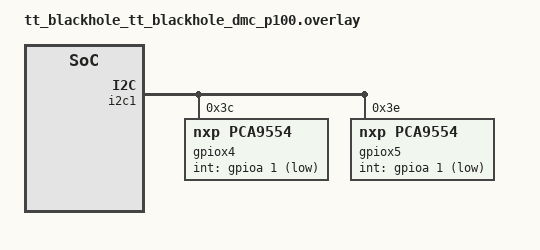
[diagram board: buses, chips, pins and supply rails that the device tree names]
/*
 * Copyright (c) 2024 Tenstorrent AI ULC
 *
 * SPDX-License-Identifier: Apache-2.0
 */

&jtag0 {
	tck-gpios = <&gpiob 8 GPIO_ACTIVE_HIGH>;
	tdi-gpios = <&gpiod 3 GPIO_ACTIVE_HIGH>;
	tdo-gpios = <&gpiod 2 GPIO_ACTIVE_HIGH>;
	tms-gpios = <&gpiob 9 GPIO_ACTIVE_HIGH>;
	trst-gpios = <&gpiod 0 GPIO_ACTIVE_LOW>;
};

&flash1 {
	jedec-id = [2c 5b 1a];
};

&ina228 {
	status = "disabled";
};

&max6639 {
	status = "disabled";
};

&gpiox1 {
	status = "disabled";
};

&i2c1 {
	gpiox4: gpio@3c {
		compatible = "nxp,pca9554";
		reg = <0x3c>;
		status = "okay";
		ngpios = <8>;
		/* external pull-up to 1.8V */
		int-gpios = <&gpioa 1 GPIO_ACTIVE_LOW>;

		gpio-controller;
		#gpio-cells = <2>;
	};

	gpiox5: gpio@3e {
		compatible = "nxp,pca9554";
		reg = <0x3e>;
		status = "okay";
		ngpios = <8>;
		/* external pull-up to 1.8V */
		int-gpios = <&gpioa 1 GPIO_ACTIVE_LOW>;

		gpio-controller;
		#gpio-cells = <2>;
	};
};

&chip0 {
	/* Use OCTAL DDR SPI mode, GPIO[39:38] = 3 is OCTAL mode, GPIO40 is DDR_EN */
	strapping {
		gpio38 {
			compatible = "zephyr,gpio-line";
			label = "GPIO pin representing strap GPIO38_SPI_MODE_0";
			gpios = <&gpiox4 3 GPIO_ACTIVE_HIGH>;
		};

		gpio39 {
			compatible = "zephyr,gpio-line";
			label = "GPIO pin representing strap GPIO39_SPI_MODE_1";
			gpios = <&gpiox4 4 GPIO_ACTIVE_HIGH>;
		};

		gpio40 {
			compatible = "zephyr,gpio-line";
			label = "GPIO pin representing strap GPIO40_SPI_DDR_EN";
			gpios = <&gpiox4 5 GPIO_ACTIVE_HIGH>;
		};
	};
};
